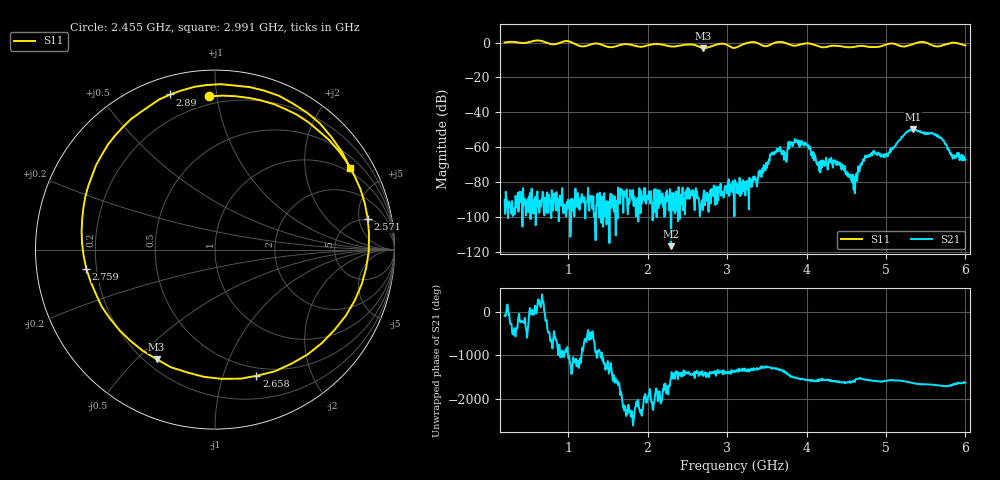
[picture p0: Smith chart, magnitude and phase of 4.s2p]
! NanoVNA-App by OneOfEleven et al v1.1.209 (+OD15)
! Date: 2024-07-30 15:09:45
! Start: 200MHz Stop: 6GHz Points: 801
! S-Parameter data: F S11 S21 S12 S22
# Hz S RI R 50
!  Frequency  S11_Real  S11_Imag  S21_Real  S21_Imag  S12_Real  S12_Imag  S22_Real  S22_Imag
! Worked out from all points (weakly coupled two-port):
!   801 points, 200 MHz to 6 GHz, reference 50 ohm
!   highest |S21| = -49.76 dB at 5.34 GHz (marker M1); lowest = -116.6 dB at 2.295 GHz (marker M2)
!   lowest |S11| = -3.2 dB at 2.701 GHz (marker M3), VSWR 5.49, Z = 12.2 - j28.6 ohm
!   |S11| at or under -10 dB: nowhere
!   S12 and S22 are empty: the file has one direction only
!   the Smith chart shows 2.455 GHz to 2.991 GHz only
!   S11 on the Smith chart (normalised r, x): 2.455 GHz: 0.15, +0.95; 2.571 GHz: 4.76, +6.65; 2.658 GHz: 0.42, -1.30; 2.759 GHz: 0.16, -0.07; 2.89 GHz: 0.08, +0.75; 2.991 GHz: 0.85, +3.41
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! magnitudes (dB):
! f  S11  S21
! 200 MHz  0.1  -90.4
! 1.171 GHz  -2.2  -86.8
! 2.136 GHz  -0.9  -94.8
! 2.295 GHz  -2.2  -116.6
! 2.455 GHz  -1.4  -88.9
! 2.571 GHz  -1.2  -84.4
! 2.658 GHz  -2.6  -99.4
! 2.701 GHz  -3.2  -87.8
! 2.759 GHz  -2.8  -86.8
! 2.89 GHz  -0.9  -90.2
! 2.991 GHz  -1.1  -83.4
! 3.1 GHz  -3.0  -78.7
! 3.354 GHz  0.1  -77.9
! 3.571 GHz  -0.7  -63.5
! 3.724 GHz  -0.1  -62.7
! 3.861 GHz  -1.8  -55.9
! 4.072 GHz  -1.0  -64.8
! 4.593 GHz  -2.5  -84.2
! 4.76 GHz  -2.3  -65.4
! 5.036 GHz  -0.7  -63.1
! 5.34 GHz  -0.9  -49.8
! 6 GHz  -1.7  -67.1
